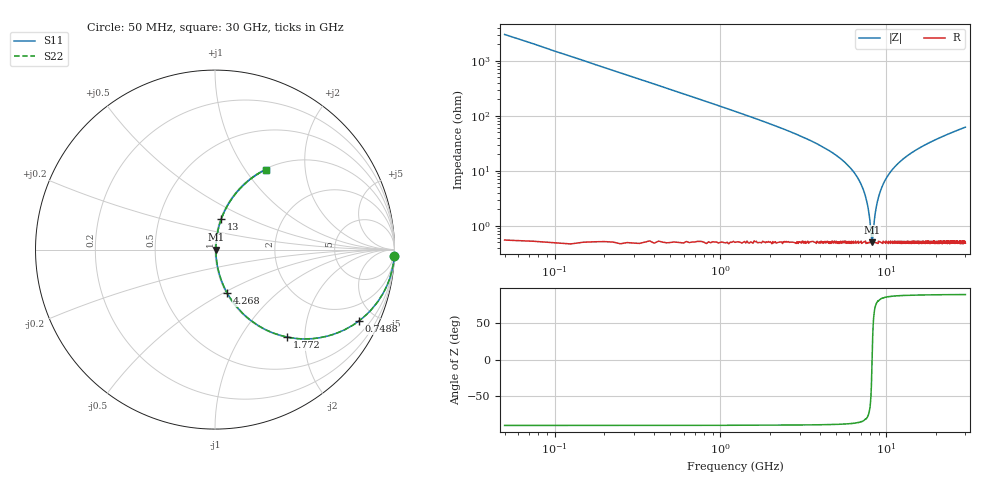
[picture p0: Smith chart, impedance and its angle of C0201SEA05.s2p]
!	AVX Thin Film Operation 	Date: April 2014
!	Description: Accu-P® Series, Thin Film  SMD RF Capacitor
!	Part Number: 02015JA05PBSTR
# MHZ S MA R 50
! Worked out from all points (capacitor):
!   1201 points, 50 MHz to 30 GHz, reference 50 ohm
!   read as one part in series: C = 1.05 pF near 199.8 MHz
!   lowest |Z| = 502 mohm at 8.211 GHz (marker M1)
!   series resonance near 8.214 GHz, so ESL is about 360 pH
!   S11 on the Smith chart (normalised r, x): 50 MHz: 2, -61; 748.8 MHz: 1.01, -4.01; 1.772 GHz: 1.01, -1.63; 4.268 GHz: 1.01, -0.52; 13 GHz: 1.01, +0.35; 30 GHz: 1.01, +1.25
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50  0.999 -1.9  0.033 88.1  0.033 88.1  0.999 -1.9
349.5  0.974 -13.0  0.225 76.9  0.225 76.9  0.974 -13.0
748.833  0.894 -26.5  0.445 63.4  0.445 63.4  0.894 -26.5
1772.125  0.63 -50.6  0.773 39.1  0.773 39.1  0.63 -50.6
2820.375  0.427 -64.1  0.9 25.3  0.9 25.3  0.427 -64.1
4267.958  0.25 -74.4  0.963 14.5  0.963 14.5  0.25 -74.4
5041.667  0.183 -77.9  0.978 10.6  0.978 10.6  0.183 -77.9
6364.458  0.094 -81.6  0.991 5.4  0.991 5.4  0.094 -81.6
7213.042  0.048 -81.3  0.994 2.7  0.994 2.7  0.048 -81.3
7712.208  0.024 -76.5  0.995 1.3  0.995 1.3  0.024 -76.5
8111.542  0.006812 -42.6  0.995 0.3  0.995 0.3  0.006812 -42.6
8211.375  0.004997 -1.6  0.995 0.0  0.995 0.0  0.004997 -1.6
8311.208  0.00659 40.5  0.995 -0.2  0.995 -0.2  0.00659 40.5
8635.667  0.019 73.7  0.995 -1.1  0.995 -1.1  0.019 73.7
8910.208  0.03 78.8  0.995 -1.7  0.995 -1.7  0.03 78.8
9409.375  0.05 81.4  0.994 -2.9  0.994 -2.9  0.05 81.4
10058.29  0.075 81.9  0.992 -4.3  0.992 -4.3  0.075 81.9
13003.38  0.172 78.5  0.98 -9.9  0.98 -9.9  0.172 78.5
15025  0.229 75.5  0.969 -13.2  0.969 -13.2  0.229 75.5
20016.67  0.349 68.8  0.933 -20.4  0.933 -20.4  0.349 68.8
25033.29  0.447 62.9  0.89 -26.5  0.89 -26.5  0.447 62.9
30000  0.527 57.7  0.846 -31.8  0.846 -31.8  0.527 57.7
